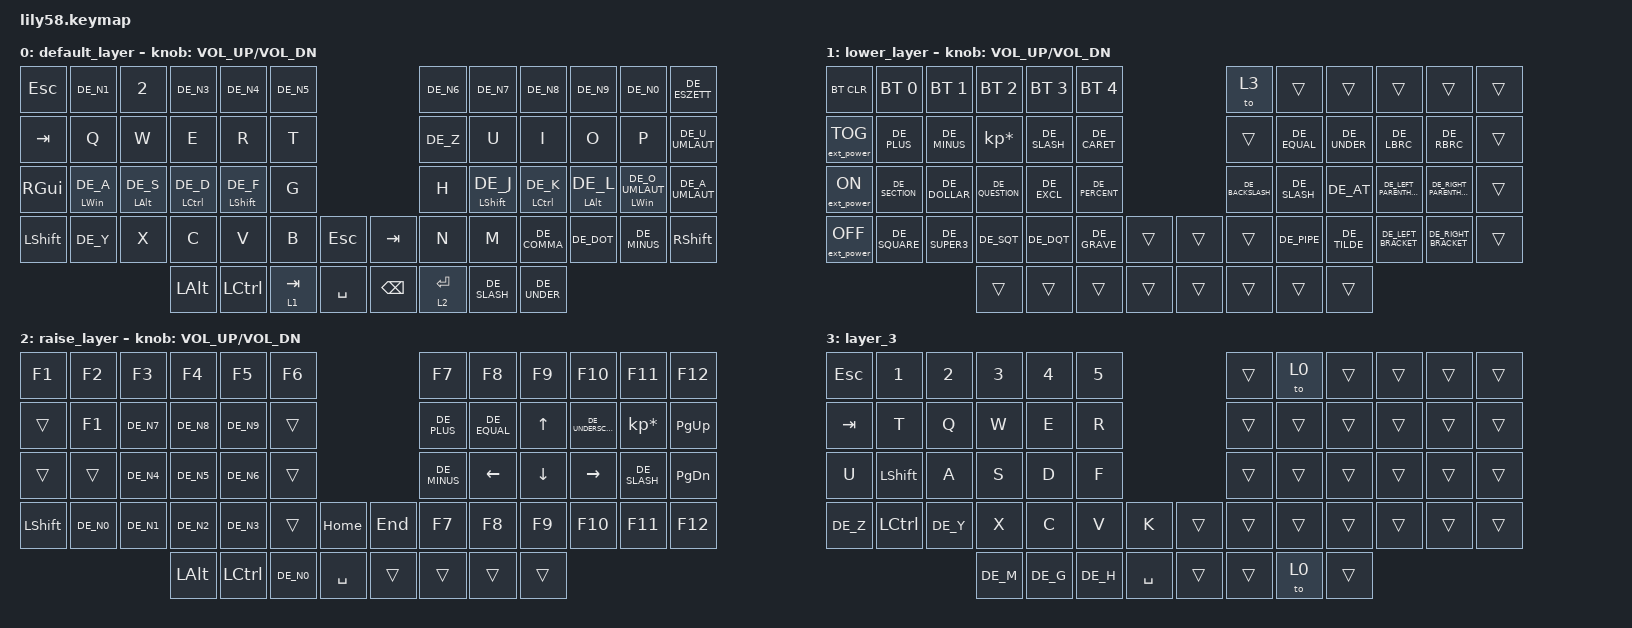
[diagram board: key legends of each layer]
/*
 * Copyright (c) 2020 The ZMK Contributors
 *
 * SPDX-License-Identifier: MIT
 */

#include "keys_de.h"
#include <behaviors.dtsi>
#include <dt-bindings/zmk/bt.h>
#include <dt-bindings/zmk/ext_power.h>
#include <dt-bindings/zmk/keys.h>

/ {
    combos {
        compatible = "zmk,combos";

        escape {
            bindings = <&kp ESCAPE>;
            key-positions = <14 15 16>;
        };
    };

    keymap {
        compatible = "zmk,keymap";

        default_layer {
            // ------------------------------------------------------------------------------------------------------------
            // |  ESC  |  1  |  2  |  3   |  4   |  5   |                   |  6   |  7    |  8    |  9   |   0   |   `   |
            // |  TAB  |  Q  |  W  |  E   |  R   |  T   |                   |  Y   |  U    |  I    |  O   |   P   |   -   |
            // |  CTRL |  A  |  S  |  D   |  F   |  G   |                   |  H   |  J    |  K    |  L   |   ;   |   '   |
            // | SHIFT |  Z  |  X  |  C   |  V   |  B   |   "["  |  |  "]"  |  N   |  M    |  ,    |  .   |   /   | SHIFT |
            //                     | ALT  | GUI  | LOWER|  SPACE |  | ENTER | RAISE| BSPC  | GUI   |

            bindings = <
&kp ESC    &kp DE_N1          &kp N2             &kp DE_N3              &kp DE_N4            &kp DE_N5                               &kp DE_N6    &kp DE_N7            &kp DE_N8              &kp DE_N9          &kp DE_N0                 &kp DE_ESZETT
&kp TAB    &kp Q              &kp W              &kp E                  &kp R                &kp T                                   &kp DE_Z     &kp U                &kp I                  &kp O              &kp P                     &kp DE_U_UMLAUT
&kp RGUI   &mt LEFT_WIN DE_A  &mt LEFT_ALT DE_S  &mt LEFT_CONTROL DE_D  &mt LEFT_SHIFT DE_F  &kp G                                   &kp H        &mt LEFT_SHIFT DE_J  &mt LEFT_CONTROL DE_K  &mt LEFT_ALT DE_L  &mt LEFT_WIN DE_O_UMLAUT  &kp DE_A_UMLAUT
&kp LSHFT  &kp DE_Y           &kp X              &kp C                  &kp V                &kp B      &kp ESCAPE    &kp TAB        &kp N        &kp M                &kp DE_COMMA           &kp DE_DOT         &kp DE_MINUS              &kp RSHIFT
                                                 &kp LALT               &kp LEFT_CONTROL     &lt 1 TAB  &kp SPACE     &kp BACKSPACE  &lt 2 ENTER  &kp DE_SLASH         &kp DE_UNDER
            >;

            sensor-bindings = <&inc_dec_kp C_VOL_UP C_VOL_DN>;
        };

        lower_layer {
            // ------------------------------------------------------------------------------------------------------------
            // | BTCLR | BT1 | BT2 |  BT3 |  BT4 |  BT5 |                   |      |       |       |      |       |       |
            // |  F1   |  F2 |  F3 |  F4  |  F5  |  F6  |                   |  F7  |  F8   |  F9   |  F10 |  F11  |  F12  |
            // |   `   |  !  |  @  |  #   |  $   |  %   |                   |  ^   |  &    |  *    |  (   |   )   |   ~   |
            // |       |     |     |      |      |      |        |  |       |      |  _    |  +    |  {   |   }   |  "|"  |
            //                     |      |      |      |        |  |       |      |       |       |

            bindings = <
&bt BT_CLR         &bt BT_SEL 0    &bt BT_SEL 1   &bt BT_SEL 2     &bt BT_SEL 3  &bt BT_SEL 4                      &to 3             &trans        &trans        &trans                   &trans                    &trans
&ext_power EP_TOG  &kp DE_PLUS     &kp DE_MINUS   &kp KP_MULTIPLY  &kp DE_SLASH  &kp DE_CARET                      &trans            &kp DE_EQUAL  &kp DE_UNDER  &kp DE_LBRC              &kp DE_RBRC               &trans
&ext_power EP_ON   &kp DE_SECTION  &kp DE_DOLLAR  &kp DE_QUESTION  &kp DE_EXCL   &kp DE_PERCENT                    &kp DE_BACKSLASH  &kp DE_SLASH  &kp DE_AT     &kp DE_LEFT_PARENTHESIS  &kp DE_RIGHT_PARENTHESIS  &trans
&ext_power EP_OFF  &kp DE_SQUARE   &kp DE_SUPER3  &kp DE_SQT       &kp DE_DQT    &kp DE_GRAVE    &trans    &trans  &trans            &kp DE_PIPE   &kp DE_TILDE  &kp DE_LEFT_BRACKET      &kp DE_RIGHT_BRACKET      &trans
                                                  &trans           &trans        &trans          &trans    &trans  &trans            &trans        &trans
            >;

            sensor-bindings = <&inc_dec_kp C_VOL_UP C_VOL_DN>;
        };

        raise_layer {
            // ------------------------------------------------------------------------------------------------------------
            // |       |     |     |      |      |      |                   |      |       |       |      |       |       |
            // |   `   |  1  |  2  |  3   |  4   |  5   |                   |  6   |   7   |   8   |  9   |   0   |       |
            // |   F1  |  F2 |  F3 |  F4  |  F5  |  F6  |                   |      |   <-  |   v   |  ^   |  ->   |       |
            // |   F7  |  F8 |  F9 |  F10 |  F11 |  F12 |        |  |       |  +   |   -   |   =   |  [   |   ]   |   \   |
            //                     |      |      |      |        |  |       |      |       |       |

            bindings = <
&kp F1          &kp F2     &kp F3     &kp F4        &kp F5            &kp F6                           &kp F7        &kp F8        &kp F9    &kp F10            &kp F11          &kp F12
&trans          &kp F1     &kp DE_N7  &kp DE_N8     &kp DE_N9         &trans                           &kp DE_PLUS   &kp DE_EQUAL  &kp UP    &kp DE_UNDERSCORE  &kp KP_MULTIPLY  &kp PG_UP
&trans          &trans     &kp DE_N4  &kp DE_N5     &kp DE_N6         &trans                           &kp DE_MINUS  &kp LEFT      &kp DOWN  &kp RIGHT          &kp DE_SLASH     &kp PG_DN
&kp LEFT_SHIFT  &kp DE_N0  &kp DE_N1  &kp DE_N2     &kp DE_N3         &trans     &kp HOME     &kp END  &kp F7        &kp F8        &kp F9    &kp F10            &kp F11          &kp F12
                                      &kp LEFT_ALT  &kp LEFT_CONTROL  &kp DE_N0  &kp SPACE    &trans   &trans        &trans        &trans
            >;

            sensor-bindings = <&inc_dec_kp C_VOL_UP C_VOL_DN>;
        };

        layer_3 {
            bindings = <
&kp ESCAPE  &kp N1            &kp N2    &kp N3    &kp N4    &kp N5                         &trans  &to 0   &trans  &trans  &trans  &trans
&kp TAB     &kp T             &kp Q     &kp W     &kp E     &kp R                          &trans  &trans  &trans  &trans  &trans  &trans
&kp U       &kp LEFT_SHIFT    &kp A     &kp S     &kp D     &kp F                          &trans  &trans  &trans  &trans  &trans  &trans
&kp DE_Z    &kp LEFT_CONTROL  &kp DE_Y  &kp X     &kp C     &kp V     &kp K        &trans  &trans  &trans  &trans  &trans  &trans  &trans
                                        &kp DE_M  &kp DE_G  &kp DE_H  &kp SPACE    &trans  &trans  &to 0   &trans
            >;
        };
    };
};
